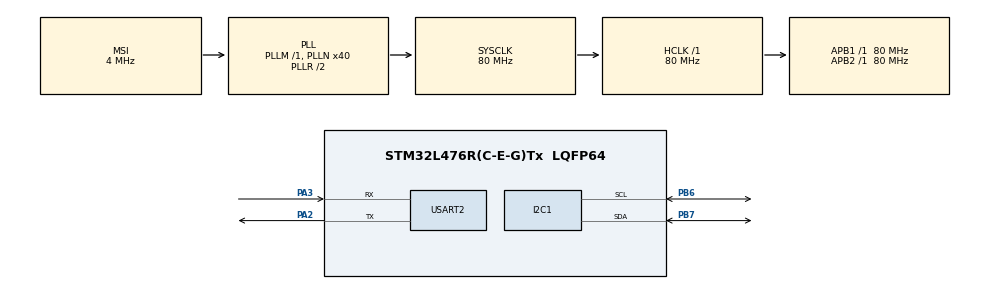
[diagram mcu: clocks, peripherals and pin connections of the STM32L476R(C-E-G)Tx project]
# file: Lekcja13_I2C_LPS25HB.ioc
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I2C1.Timing=0x10909CEC
Mcu.Family=STM32L4
Mcu.Name=STM32L476R(C-E-G)Tx
Mcu.Package=LQFP64
NVIC.PriorityGroup=NVIC_PRIORITYGROUP_4
PA13\ (JTMS-SWDIO).Mode=Serial_Wire
PA13\ (JTMS-SWDIO).Signal=SYS_JTMS-SWDIO
PA14\ (JTCK-SWCLK).Mode=Serial_Wire
PA14\ (JTCK-SWCLK).Signal=SYS_JTCK-SWCLK
PA2.Mode=Asynchronous
PA2.Signal=USART2_TX
PA3.Mode=Asynchronous
PA3.Signal=USART2_RX
PB6.Mode=I2C
PB6.Signal=I2C1_SCL
PB7.Mode=I2C
PB7.Signal=I2C1_SDA
ProjectManager.HeapSize=0x200
ProjectManager.StackSize=0x400
ProjectManager.TargetToolchain=STM32CubeIDE
RCC.AHBFreq_Value=80000000
RCC.APB1Freq_Value=80000000
RCC.APB1TimFreq_Value=80000000
RCC.APB2Freq_Value=80000000
RCC.APB2TimFreq_Value=80000000
RCC.CortexFreq_Value=80000000
RCC.HCLKFreq_Value=80000000
RCC.HSE_VALUE=8000000
RCC.HSI_VALUE=16000000
RCC.LSE_VALUE=32768
RCC.MSI_VALUE=4000000
RCC.PLLN=40
RCC.SYSCLKFreq_VALUE=80000000
RCC.SYSCLKSource=RCC_SYSCLKSOURCE_PLLCLK
RCC.VCOOutputFreq_Value=160000000
USART2.VirtualMode-Asynchronous=VM_ASYNC
board=custom

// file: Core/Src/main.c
/* USER CODE BEGIN Header */
/**
  ******************************************************************************
  * @file           : main.c
  * @brief          : Main program body
  ******************************************************************************
  * @attention
  *
  * Copyright (c) 2023 STMicroelectronics.
  * All rights reserved.
  *
  * This software is licensed under terms that can be found in the LICENSE file
  * in the root directory of this software component.
  * If no LICENSE file comes with this software, it is provided AS-IS.
  *
  ******************************************************************************
  */
/* USER CODE END Header */
#include "main.h"
#include "i2c.h"
#include "usart.h"
#include "gpio.h"

/* USER CODE BEGIN Includes */
#include <stdio.h>
#include <math.h>
#include "lps25hb.h"
/* USER CODE END Includes */

void SystemClock_Config(void);

/* USER CODE BEGIN 0 */
int __io_putchar(int ch)
{
	if (ch == '\n')
		__io_putchar('\r');

	HAL_UART_Transmit(&huart2, (uint8_t*)&ch, 1, HAL_MAX_DELAY);

	return 1;
}

/* USER CODE END 0 */

int main(void)
{

  /* MCU Configuration--------------------------------------------------------*/

  /* Reset of all peripherals, Initializes the Flash interface and the Systick. */
  HAL_Init();

  /* Configure the system clock */
  SystemClock_Config();

  /* Initialize all configured peripherals */
  MX_GPIO_Init();
  MX_I2C1_Init();
  MX_USART2_UART_Init();

  /* Infinite loop */
  /* USER CODE BEGIN WHILE */

  //inicjalizacja czujnika
  printf("Searching...\n");

  if (lps25hb_init() == HAL_OK)
	  printf("Found: LPS25HB\n\n");
  else
  {
	  printf("Error: LPS25HB not found\n");
	  Error_Handler();
  }

  //kalibracja czujnika na podstawie zmierzonej wartosci cisn wzglednego i podanej w prognozie pogody
  // (1028.3 - 1022)*16 = 101
  lps25hb_set_calib(101);
  //czas na inicjalizacje, ustabilizowanie odczytow i zapelnienie kolejki FIFO
  HAL_Delay(5000);

  while (1)
  {
	  //cykliczny odczyt temperatury i cisnienia
	  printf("T = %.1f*C\n", lps25hb_read_temp());
	  printf("p = %.1fhPa\n", lps25hb_read_pressure());
	  //obliczenie cisnienia wzglednego
	  const float h = 210;
	  float tempK = lps25hb_read_temp() + 273.15;
	  float p = lps25hb_read_pressure();
	  float p0 = p * exp(0.034162608734308 * h / tempK);
	  printf("p0 = %.2fhPa (0m n.p.m.)\n", p0);
	  //obliczenie wysokosci n.p.m
	  float hnew = -29.271769 * tempK * log(p/1022.0);
	  printf("h = %.2fm n.p.m.\n", hnew);

	  HAL_Delay(1000);
    /* USER CODE END WHILE */

  }
}

void SystemClock_Config(void)
{
  RCC_OscInitTypeDef RCC_OscInitStruct = {0};
  RCC_ClkInitTypeDef RCC_ClkInitStruct = {0};

  /** Configure the main internal regulator output voltage
  */
  if (HAL_PWREx_ControlVoltageScaling(PWR_REGULATOR_VOLTAGE_SCALE1) != HAL_OK)
  {
    Error_Handler();
  }

  /** Initializes the RCC Oscillators according to the specified parameters
  * in the RCC_OscInitTypeDef structure.
  */
  RCC_OscInitStruct.OscillatorType = RCC_OSCILLATORTYPE_MSI;
  RCC_OscInitStruct.MSIState = RCC_MSI_ON;
  RCC_OscInitStruct.MSICalibrationValue = 0;
  RCC_OscInitStruct.MSIClockRange = RCC_MSIRANGE_6;
  RCC_OscInitStruct.PLL.PLLState = RCC_PLL_ON;
  RCC_OscInitStruct.PLL.PLLSource = RCC_PLLSOURCE_MSI;
  RCC_OscInitStruct.PLL.PLLM = 1;
  RCC_OscInitStruct.PLL.PLLN = 40;
  RCC_OscInitStruct.PLL.PLLP = RCC_PLLP_DIV7;
  RCC_OscInitStruct.PLL.PLLQ = RCC_PLLQ_DIV2;
  RCC_OscInitStruct.PLL.PLLR = RCC_PLLR_DIV2;
  if (HAL_RCC_OscConfig(&RCC_OscInitStruct) != HAL_OK)
  {
    Error_Handler();
  }

  /** Initializes the CPU, AHB and APB buses clocks
  */
  RCC_ClkInitStruct.ClockType = RCC_CLOCKTYPE_HCLK|RCC_CLOCKTYPE_SYSCLK
                              |RCC_CLOCKTYPE_PCLK1|RCC_CLOCKTYPE_PCLK2;
  RCC_ClkInitStruct.SYSCLKSource = RCC_SYSCLKSOURCE_PLLCLK;
  RCC_ClkInitStruct.AHBCLKDivider = RCC_SYSCLK_DIV1;
  RCC_ClkInitStruct.APB1CLKDivider = RCC_HCLK_DIV1;
  RCC_ClkInitStruct.APB2CLKDivider = RCC_HCLK_DIV1;

  if (HAL_RCC_ClockConfig(&RCC_ClkInitStruct, FLASH_LATENCY_4) != HAL_OK)
  {
    Error_Handler();
  }
}

void Error_Handler(void)
{
  __disable_irq();
  while (1)
  {
  }
}
